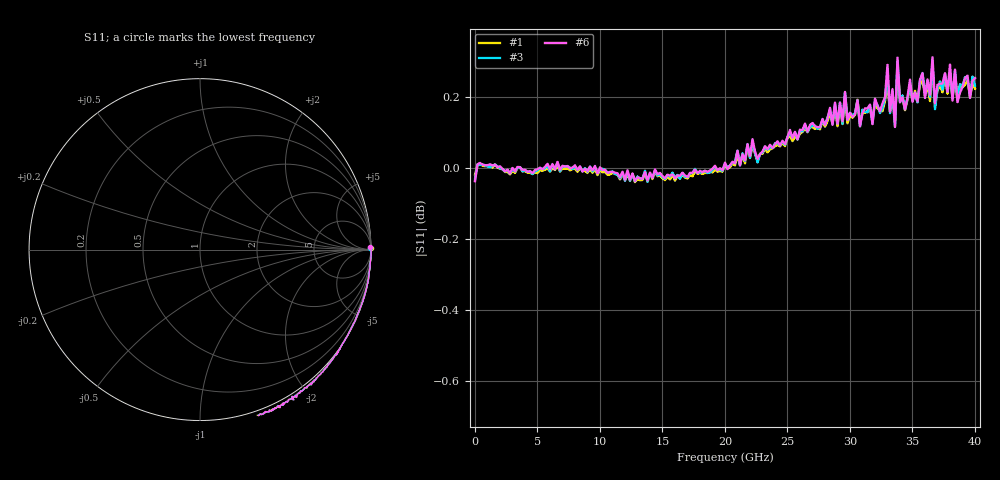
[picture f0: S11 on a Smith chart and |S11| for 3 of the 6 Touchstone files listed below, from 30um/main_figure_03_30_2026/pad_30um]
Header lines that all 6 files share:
!Agilent Technologies,N5227A,US51270434,A.10.00.00
!Agilent N5227A: A.10.00.00
!Correction: S11(Full 1 Port(1))
!S1P File: Measurement: S11:
# Hz S  dB  R 50
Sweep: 10 MHz to 40 GHz
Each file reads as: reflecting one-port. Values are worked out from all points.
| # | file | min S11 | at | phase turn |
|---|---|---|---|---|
| 1 | Bias_0V_pad.s1p | 0.0 dB | 12.81 GHz | -71 deg |
| 2 | Bias_-3V_pad.s1p | 0.0 dB | 12.81 GHz | -71 deg |
| 3 | Bias_-4V_pad.s1p | 0.0 dB | 13.81 GHz | -71 deg |
| 4 | Bias_-5V_pad.s1p | 0.0 dB | 12.81 GHz | -71 deg |
| 5 | Bias_-6V_pad.s1p | 0.0 dB | 12.81 GHz | -71 deg |
| 6 | Bias_-7V_pad.s1p | 0.0 dB | 10 MHz | -71 deg |
